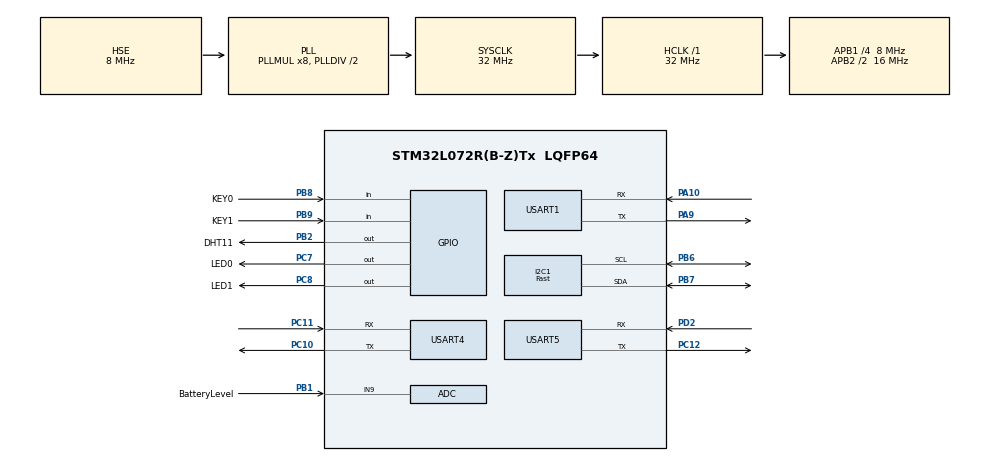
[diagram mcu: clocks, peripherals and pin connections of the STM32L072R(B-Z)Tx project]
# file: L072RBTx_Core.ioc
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ADC.ClockPrescaler=ADC_CLOCK_SYNC_PCLK_DIV4
ADC.ContinuousConvMode=ENABLE
ADC.DMAContinuousRequests=ENABLE
ADC.SamplingTime=ADC_SAMPLETIME_160CYCLES_5
Dma.ADC.0.Direction=DMA_PERIPH_TO_MEMORY
Dma.ADC.0.Instance=DMA1_Channel1
Dma.ADC.0.MemDataAlignment=DMA_MDATAALIGN_HALFWORD
Dma.ADC.0.MemInc=DMA_MINC_ENABLE
Dma.ADC.0.Mode=DMA_NORMAL
Dma.ADC.0.PeriphDataAlignment=DMA_PDATAALIGN_HALFWORD
Dma.ADC.0.PeriphInc=DMA_PINC_DISABLE
Dma.ADC.0.Priority=DMA_PRIORITY_LOW
Dma.Request0=ADC
Dma.Request1=USART4_TX
Dma.Request2=USART5_TX
Dma.USART4_TX.1.Direction=DMA_MEMORY_TO_PERIPH
Dma.USART4_TX.1.Instance=DMA1_Channel3
Dma.USART4_TX.1.MemDataAlignment=DMA_MDATAALIGN_BYTE
Dma.USART4_TX.1.MemInc=DMA_MINC_ENABLE
Dma.USART4_TX.1.Mode=DMA_NORMAL
Dma.USART4_TX.1.PeriphDataAlignment=DMA_PDATAALIGN_BYTE
Dma.USART4_TX.1.PeriphInc=DMA_PINC_DISABLE
Dma.USART4_TX.1.Priority=DMA_PRIORITY_HIGH
Dma.USART5_TX.2.Direction=DMA_MEMORY_TO_PERIPH
Dma.USART5_TX.2.Instance=DMA1_Channel7
Dma.USART5_TX.2.MemDataAlignment=DMA_MDATAALIGN_BYTE
Dma.USART5_TX.2.MemInc=DMA_MINC_ENABLE
Dma.USART5_TX.2.Mode=DMA_NORMAL
Dma.USART5_TX.2.PeriphDataAlignment=DMA_PDATAALIGN_BYTE
Dma.USART5_TX.2.PeriphInc=DMA_PINC_DISABLE
Dma.USART5_TX.2.Priority=DMA_PRIORITY_HIGH
I2C1.I2C_Speed_Mode=I2C_Fast
I2C1.Timing=0x0000020B
Mcu.Family=STM32L0
Mcu.Name=STM32L072R(B-Z)Tx
Mcu.Package=LQFP64
NVIC.DMA1_Channel1_IRQn=true\:0\:0\:false\:false\:true\:false\:true
NVIC.DMA1_Channel2_3_IRQn=true\:0\:0\:false\:false\:true\:false\:true
NVIC.DMA1_Channel4_5_6_7_IRQn=true\:0\:0\:false\:false\:true\:false\:true
NVIC.RTC_IRQn=true\:0\:0\:false\:false\:true\:true\:true
NVIC.USART4_5_IRQn=true\:2\:0\:true\:false\:true\:true\:true
PA10.Mode=Asynchronous
PA10.Signal=USART1_RX
PA13.Mode=Serial_Wire
PA13.Signal=SYS_SWDIO
PA14.Mode=Serial_Wire
PA14.Signal=SYS_SWCLK
PA9.Mode=Asynchronous
PA9.Signal=USART1_TX
PB1.GPIO_Label=BatteryLevel
PB1.Mode=IN9
PB1.Signal=ADC_IN9
PB2.GPIO_Label=DHT11
PB2.GPIO_ModeDefaultOutputPP=GPIO_MODE_OUTPUT_OD
PB2.GPIO_PuPd=GPIO_PULLUP
PB2.GPIO_Speed=GPIO_SPEED_FREQ_HIGH
PB2.PinState=GPIO_PIN_SET
PB2.Signal=GPIO_Output
PB6.Mode=I2C
PB6.Signal=I2C1_SCL
PB7.Mode=I2C
PB7.Signal=I2C1_SDA
PB8.GPIO_Label=KEY0
PB8.Signal=GPIO_Input
PB9.GPIO_Label=KEY1
PB9.Signal=GPIO_Input
PC10.Mode=Asynchronous
PC10.Signal=USART4_TX
PC11.Mode=Asynchronous
PC11.Signal=USART4_RX
PC12.Mode=Asynchronous
PC12.Signal=USART5_TX
PC13.Mode=SYS_WakeUp1
PC13.Signal=SYS_WKUP2
PC7.GPIO_Label=LED0
PC7.Signal=GPIO_Output
PC8.GPIO_Label=LED1
PC8.Signal=GPIO_Output
PD2.Mode=Asynchronous
PD2.Signal=USART5_RX
PH0-OSC_IN.Mode=HSE-External-Oscillator
PH0-OSC_IN.Signal=RCC_OSC_IN
PH1-OSC_OUT.Mode=HSE-External-Oscillator
PH1-OSC_OUT.Signal=RCC_OSC_OUT
ProjectManager.HeapSize=0x200
ProjectManager.StackSize=0x400
ProjectManager.TargetToolchain=SW4STM32
RCC.AHBFreq_Value=32000000
RCC.APB1CLKDivider=RCC_HCLK_DIV4
RCC.APB1Freq_Value=8000000
RCC.APB1TimFreq_Value=16000000
RCC.APB2CLKDivider=RCC_HCLK_DIV2
RCC.APB2Freq_Value=16000000
RCC.APB2TimFreq_Value=32000000
RCC.HCLKFreq_Value=32000000
RCC.HSE_VALUE=8000000
RCC.HSI16_VALUE=16000000
RCC.HSI48_VALUE=48000000
RCC.HSI_VALUE=16000000
RCC.LSE_VALUE=32768
RCC.MSI_VALUE=2097000
RCC.PLLMUL=RCC_PLLMUL_8
RCC.PLLSourceVirtual=RCC_PLLSOURCE_HSE
RCC.SYSCLKFreq_VALUE=32000000
RCC.SYSCLKSource=RCC_SYSCLKSOURCE_PLLCLK
RCC.VCOOutputFreq_Value=64000000
RTC.AsynchPrediv=36
RTC.SynchPrediv=999
RTC.WakeUpClock-WakeUp=RTC_WAKEUPCLOCK_CK_SPRE_16BITS
RTC.WakeUpCounter-WakeUp=4
USART1.VirtualMode-Asynchronous=VM_ASYNC
USART4.VirtualMode-Asynchronous=VM_ASYNC
USART5.VirtualMode-Asynchronous=VM_ASYNC
VP_RTC_VS_RTC_Activate.Mode=RTC_Enabled
VP_RTC_VS_RTC_WakeUp_intern.Mode=WakeUp
board=custom

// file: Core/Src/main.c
/* USER CODE BEGIN Header */
/**
  ******************************************************************************
  * @file           : main.c
  * @brief          : Main program body
  ******************************************************************************
  * @attention
  *
  * <h2><center>&copy; Copyright (c) 2023 STMicroelectronics.
  * All rights reserved.</center></h2>
  *
  * This software component is licensed by ST under BSD 3-Clause license,
  * the "License"; You may not use this file except in compliance with the
  * License. You may obtain a copy of the License at:
  *                        opensource.org/licenses/BSD-3-Clause
  *
  ******************************************************************************
  */
/* USER CODE END Header */
#include "main.h"
#include "adc.h"
#include "dma.h"
#include "i2c.h"
#include "rtc.h"
#include "usart.h"
#include "gpio.h"

/* USER CODE BEGIN Includes */
#include "string.h"
#include "zigbee.h"
#include "key.h"
#include "dht11.h"
#include "GY30.h"
#include "battery.h"
#include "lowpower.h"
#include "sensor_type.h"
/* USER CODE END Includes */

/* USER CODE BEGIN PD */
uint8_t u_buf[256];
float batteryLevel = 0;
uint8_t  key_num = 0;
unsigned char UART4_temp[1];
/* USER CODE END PD */

void SystemClock_Config(void);

int main(void)
{
  /* USER CODE BEGIN 1 */
    uint8_t dat[17] = {0x4B, 0x4B, 0x55, 0x55, 0x01, 0x12, 0x02, 0xFF, 0x0F, 0x05, 0xFE, 0x0E, 0x03, 0x55, 0x55, 0x4B, 0x4B};
    uint8_t buf[5] = {0};
    int32_t rt;
  /* USER CODE END 1 */

  /* MCU Configuration--------------------------------------------------------*/

  /* Reset of all peripherals, Initializes the Flash interface and the Systick. */
  HAL_Init();

  /* Configure the system clock */
  SystemClock_Config();

  /* Initialize all configured peripherals */
  MX_GPIO_Init();
  MX_DMA_Init();
  MX_ADC_Init();
  MX_I2C1_Init();
  MX_USART1_UART_Init();
  MX_USART4_UART_Init();
  MX_RTC_Init();
  MX_USART5_UART_Init();
  /* USER CODE BEGIN 2 */
    E18_HARDWARE_Init();
    GY30_Init(&hi2c1);
    BatteryLevel_Init(&hadc);
    Read_BatteryLevel();
    batteryLevel = Return_BatteryLevel();
    printf("batteryLevel: %f\r\n",batteryLevel);
    printf("Debug Start\n\r");
    //HAL_TIM_Base_Start_IT(&htim2);

  /* USER CODE END 2 */

  /* Infinite loop */
  /* USER CODE BEGIN WHILE */
  while (1)
  {
      Stop_Mode();

      E18_CheckNodeControlCMD();
        if(E18_NodeControlCMD){
              E18_OrganizationalData();
              HAL_GPIO_TogglePin(LED0_GPIO_Port, LED0_Pin);
        }

    /* USER CODE END WHILE */

  }
}

void SystemClock_Config(void)
{
  RCC_OscInitTypeDef RCC_OscInitStruct = {0};
  RCC_ClkInitTypeDef RCC_ClkInitStruct = {0};
  RCC_PeriphCLKInitTypeDef PeriphClkInit = {0};

  /** Configure the main internal regulator output voltage
  */
  __HAL_PWR_VOLTAGESCALING_CONFIG(PWR_REGULATOR_VOLTAGE_SCALE1);
  /** Initializes the RCC Oscillators according to the specified parameters
  * in the RCC_OscInitTypeDef structure.
  */
  RCC_OscInitStruct.OscillatorType = RCC_OSCILLATORTYPE_LSI|RCC_OSCILLATORTYPE_HSE;
  RCC_OscInitStruct.HSEState = RCC_HSE_ON;
  RCC_OscInitStruct.LSIState = RCC_LSI_ON;
  RCC_OscInitStruct.PLL.PLLState = RCC_PLL_ON;
  RCC_OscInitStruct.PLL.PLLSource = RCC_PLLSOURCE_HSE;
  RCC_OscInitStruct.PLL.PLLMUL = RCC_PLLMUL_8;
  RCC_OscInitStruct.PLL.PLLDIV = RCC_PLLDIV_2;
  if (HAL_RCC_OscConfig(&RCC_OscInitStruct) != HAL_OK)
  {
    Error_Handler();
  }
  /** Initializes the CPU, AHB and APB buses clocks
  */
  RCC_ClkInitStruct.ClockType = RCC_CLOCKTYPE_HCLK|RCC_CLOCKTYPE_SYSCLK
                              |RCC_CLOCKTYPE_PCLK1|RCC_CLOCKTYPE_PCLK2;
  RCC_ClkInitStruct.SYSCLKSource = RCC_SYSCLKSOURCE_PLLCLK;
  RCC_ClkInitStruct.AHBCLKDivider = RCC_SYSCLK_DIV1;
  RCC_ClkInitStruct.APB1CLKDivider = RCC_HCLK_DIV4;
  RCC_ClkInitStruct.APB2CLKDivider = RCC_HCLK_DIV2;

  if (HAL_RCC_ClockConfig(&RCC_ClkInitStruct, FLASH_LATENCY_1) != HAL_OK)
  {
    Error_Handler();
  }
  PeriphClkInit.PeriphClockSelection = RCC_PERIPHCLK_USART1|RCC_PERIPHCLK_I2C1
                              |RCC_PERIPHCLK_RTC;
  PeriphClkInit.Usart1ClockSelection = RCC_USART1CLKSOURCE_PCLK2;
  PeriphClkInit.I2c1ClockSelection = RCC_I2C1CLKSOURCE_PCLK1;
  PeriphClkInit.RTCClockSelection = RCC_RTCCLKSOURCE_LSI;
  if (HAL_RCCEx_PeriphCLKConfig(&PeriphClkInit) != HAL_OK)
  {
    Error_Handler();
  }
}

/* USER CODE BEGIN 4 */
void HAL_UART_RxCpltCallback(UART_HandleTypeDef *huart)
{
    if(huart->Instance == USART4){
        if(E18_CMD_FLAG != 0)
        {
            E18_RECEIVE_BUFF[RX_NUM] = UART4_temp[0];
            if(E18_RECEIVE_BUFF[0] == 0x55 || E18_RECEIVE_BUFF[0] == 0x4F || E18_RECEIVE_BUFF[0] == 0x1F)
            {
                if(RX_NUM == RX_NUM_LENGTH){
                    RX_NUM = 0;
                    E18_CMD_FLAG = 0;
                } else{
                    RX_NUM++;
                }
            }else{
                RX_NUM = 0;
            }
        }
        HAL_UART_Receive_IT(E18_USART,(uint8_t *)UART4_temp, 1);
    }else if(huart->Instance == USART1){
        HAL_UART_Transmit(&huart1, "Debug\r\n", strlen("Debug\r\n"), 20);
    }
}
/* USER CODE END 4 */

void Error_Handler(void)
{
  __disable_irq();
  while (1)
  {
  }
}

/************************ (C) COPYRIGHT STMicroelectronics *****END OF FILE****/
